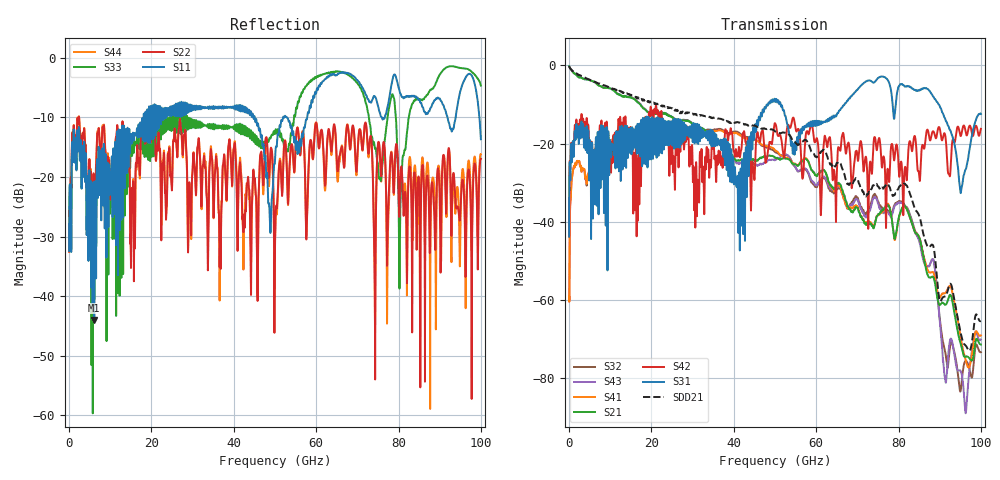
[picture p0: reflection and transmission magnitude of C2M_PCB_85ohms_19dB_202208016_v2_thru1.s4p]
! Info: Touchstone file created by Circ.  Input file=Intel_C2M_200G_6p5in_202208016_staggered.circ
# Hz S RI R 50
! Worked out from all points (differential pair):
!   10000 points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, 10 MHz to 100 GHz, reference 50 ohm
!   strongest paths, dB at 10 MHz, 25.01 GHz, 50.01 GHz, 75.01 GHz, 100 GHz:
!     S31: -43.8, -17.3, -9.0, -3.3, -12.4
!     S42: -43.8, -19.0, -14.8, -19.8, -16.3
!     S21: -0.2, -13.3, -23.7, -38.3, -71.5
!     S41: -59.8, -18.9, -21.7, -38.3, -69.1
!     S43: -0.2, -13.2, -24.2, -35.4, -70.1
!     S32: -59.8, -18.5, -22.1, -34.8, -73.4
!   taken as a pair (ports 1,3 in; 2,4 out), SDD21 dB: -0.2, -11.0, -16.9, -31.0, -65.4
!   lowest |S11| = -44.0 dB at 6.11 GHz (marker M1), VSWR 1.01, Z = 50.4 + j0.525 ohm
!   |S11| at or under -10 dB: start of sweep to 18.09 GHz; 45.09 GHz to 51.94 GHz (6.855 GHz wide, 14.1 % of centre); 52.86 GHz to 57.82 GHz (4.965 GHz wide, 8.97 % of centre)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
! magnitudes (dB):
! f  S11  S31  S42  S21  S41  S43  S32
! 10 MHz  -32.4  -43.8  -43.8  -0.2  -59.8  -0.2  -59.8
! 1.09 GHz  -12.3  -23.2  -20.2  -1.9  -26.2  -1.9  -26.3
! 6.11 GHz  -44.0  -22.4  -29.1  -4.2  -22.0  -4.2  -21.9
! 64.79 GHz  -2.9  -13.0  -39.2  -31.0  -31.5  -31.8  -32.3
! 80.71 GHz  -6.4  -4.8  -24.9  -36.8  -37.0  -35.2  -34.9
! 91.35 GHz  -8.7  -13.8  -18.0  -61.3  -58.3  -80.5  -73.3
! 100 GHz  -13.7  -12.4  -16.3  -71.5  -69.1  -70.1  -73.4
